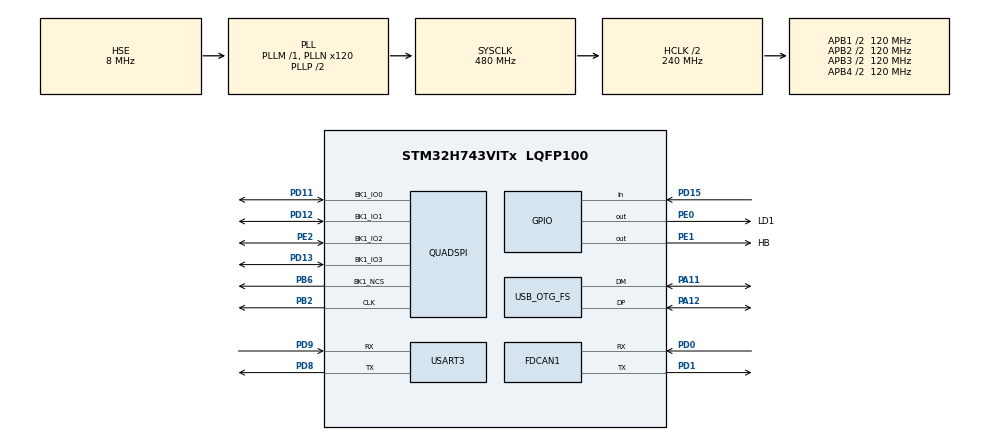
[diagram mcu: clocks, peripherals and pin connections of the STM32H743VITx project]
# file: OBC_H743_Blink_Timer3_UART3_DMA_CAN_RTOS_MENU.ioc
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CORTEX_M7.default_mode_Activation=1
Dma.Request0=USART3_TX
Dma.Request1=USART3_RX
Dma.USART3_RX.1.Direction=DMA_PERIPH_TO_MEMORY
Dma.USART3_RX.1.EventEnable=DISABLE
Dma.USART3_RX.1.FIFOMode=DMA_FIFOMODE_DISABLE
Dma.USART3_RX.1.Instance=DMA1_Stream1
Dma.USART3_RX.1.MemDataAlignment=DMA_MDATAALIGN_BYTE
Dma.USART3_RX.1.MemInc=DMA_MINC_ENABLE
Dma.USART3_RX.1.Mode=DMA_NORMAL
Dma.USART3_RX.1.PeriphDataAlignment=DMA_PDATAALIGN_BYTE
Dma.USART3_RX.1.PeriphInc=DMA_PINC_DISABLE
Dma.USART3_RX.1.Polarity=HAL_DMAMUX_REQ_GEN_RISING
Dma.USART3_RX.1.Priority=DMA_PRIORITY_MEDIUM
Dma.USART3_RX.1.RequestNumber=1
Dma.USART3_RX.1.SignalID=NONE
Dma.USART3_RX.1.SyncEnable=DISABLE
Dma.USART3_RX.1.SyncPolarity=HAL_DMAMUX_SYNC_NO_EVENT
Dma.USART3_RX.1.SyncRequestNumber=1
Dma.USART3_RX.1.SyncSignalID=NONE
Dma.USART3_TX.0.Direction=DMA_MEMORY_TO_PERIPH
Dma.USART3_TX.0.EventEnable=DISABLE
Dma.USART3_TX.0.FIFOMode=DMA_FIFOMODE_DISABLE
Dma.USART3_TX.0.Instance=DMA1_Stream0
Dma.USART3_TX.0.MemDataAlignment=DMA_MDATAALIGN_BYTE
Dma.USART3_TX.0.MemInc=DMA_MINC_ENABLE
Dma.USART3_TX.0.Mode=DMA_NORMAL
Dma.USART3_TX.0.PeriphDataAlignment=DMA_PDATAALIGN_BYTE
Dma.USART3_TX.0.PeriphInc=DMA_PINC_DISABLE
Dma.USART3_TX.0.Polarity=HAL_DMAMUX_REQ_GEN_RISING
Dma.USART3_TX.0.Priority=DMA_PRIORITY_MEDIUM
Dma.USART3_TX.0.RequestNumber=1
Dma.USART3_TX.0.SignalID=NONE
Dma.USART3_TX.0.SyncEnable=DISABLE
Dma.USART3_TX.0.SyncPolarity=HAL_DMAMUX_SYNC_NO_EVENT
Dma.USART3_TX.0.SyncRequestNumber=1
Dma.USART3_TX.0.SyncSignalID=NONE
FDCAN1.CalculateBaudRateNominal=125000
FDCAN1.CalculateTimeBitNominal=8000
FDCAN1.CalculateTimeQuantumNominal=400.0
FDCAN1.DataTimeSeg1=16
FDCAN1.DataTimeSeg2=3
FDCAN1.Mode=FDCAN_MODE_NORMAL
FDCAN1.NominalPrescaler=48
FDCAN1.NominalTimeSeg1=16
FDCAN1.NominalTimeSeg2=3
FDCAN1.RxFifo0ElmtsNbr=1
FDCAN1.StdFiltersNbr=1
FDCAN1.TxBuffersNbr=16
FDCAN1.TxFifoQueueElmtsNbr=16
FREERTOS.Tasks01=defaultTask,24,128,StartDefaultTask,Default,NULL,Dynamic,NULL,NULL;uartTask,24,128,StartUartTask,Default,NULL,Dynamic,NULL,NULL;timeTask,8,128,StartTimeTask,Default,NULL,Dynamic,NULL,NULL
FREERTOS.configTOTAL_HEAP_SIZE=32768
FREERTOS.configUSE_NEWLIB_REENTRANT=1
Mcu.Family=STM32H7
Mcu.Name=STM32H743VITx
Mcu.Package=LQFP100
NVIC.DMA1_Stream0_IRQn=true\:5\:0\:false\:false\:true\:true\:false\:true\:true
NVIC.DMA1_Stream1_IRQn=true\:5\:0\:false\:false\:true\:true\:false\:true\:true
NVIC.FDCAN1_IT0_IRQn=true\:5\:0\:false\:false\:true\:true\:true\:true\:true
NVIC.FDCAN1_IT1_IRQn=true\:5\:0\:false\:false\:true\:true\:true\:true\:true
NVIC.OTG_FS_IRQn=true\:5\:0\:false\:false\:true\:true\:false\:true\:true
NVIC.PriorityGroup=NVIC_PRIORITYGROUP_4
NVIC.TIM1_UP_IRQn=true\:15\:0\:false\:false\:true\:false\:false\:true\:true
NVIC.TIM3_IRQn=true\:5\:0\:false\:false\:true\:true\:true\:true\:true
NVIC.TimeBase=TIM1_UP_IRQn
NVIC.TimeBaseIP=TIM1
NVIC.USART3_IRQn=true\:5\:0\:false\:false\:true\:true\:true\:true\:true
PA11.Mode=Device_Only
PA11.Signal=USB_OTG_FS_DM
PA12.Mode=Device_Only
PA12.Signal=USB_OTG_FS_DP
PB2.GPIO_Speed=GPIO_SPEED_FREQ_VERY_HIGH
PB2.Mode=Single Bank 1
PB2.Signal=QUADSPI_CLK
PB6.GPIO_Speed=GPIO_SPEED_FREQ_VERY_HIGH
PB6.Mode=Single Bank 1
PB6.Signal=QUADSPI_BK1_NCS
PC14-OSC32_IN\ (OSC32_IN).Mode=LSE-External-Oscillator
PC14-OSC32_IN\ (OSC32_IN).Signal=RCC_OSC32_IN
PC15-OSC32_OUT\ (OSC32_OUT).Mode=LSE-External-Oscillator
PC15-OSC32_OUT\ (OSC32_OUT).Signal=RCC_OSC32_OUT
PD0.Mode=FDCAN_Activate
PD0.Signal=FDCAN1_RX
PD1.Mode=FDCAN_Activate
PD1.Signal=FDCAN1_TX
PD11.GPIO_Speed=GPIO_SPEED_FREQ_VERY_HIGH
PD11.Mode=Single Bank 1
PD11.Signal=QUADSPI_BK1_IO0
PD12.GPIO_Speed=GPIO_SPEED_FREQ_VERY_HIGH
PD12.Mode=Single Bank 1
PD12.Signal=QUADSPI_BK1_IO1
PD13.GPIO_Speed=GPIO_SPEED_FREQ_VERY_HIGH
PD13.Mode=Single Bank 1
PD13.Signal=QUADSPI_BK1_IO3
PD15.Signal=GPIO_Input
PD8.Mode=Asynchronous
PD8.Signal=USART3_TX
PD9.Mode=Asynchronous
PD9.Signal=USART3_RX
PE0.GPIO_Label=LD1
PE0.Signal=GPIO_Output
PE1.GPIO_Label=HB
PE1.Signal=GPIO_Output
PE2.GPIO_Speed=GPIO_SPEED_FREQ_VERY_HIGH
PE2.Mode=Single Bank 1
PE2.Signal=QUADSPI_BK1_IO2
PH0-OSC_IN\ (PH0).Mode=HSE-External-Oscillator
PH0-OSC_IN\ (PH0).Signal=RCC_OSC_IN
PH1-OSC_OUT\ (PH1).Mode=HSE-External-Oscillator
PH1-OSC_OUT\ (PH1).Signal=RCC_OSC_OUT
ProjectManager.HeapSize=0x200
ProjectManager.StackSize=0x400
ProjectManager.TargetToolchain=STM32CubeIDE
QUADSPI.ClockMode=QSPI_CLOCK_MODE_3
QUADSPI.ClockPrescaler=3
QUADSPI.DeviceType=SPI_DEVICE_FLASH
QUADSPI.FifoThreshold=4
QUADSPI.FlashSize=24
QUADSPI.SampleShifting=QSPI_SAMPLE_SHIFTING_HALFCYCLE
RCC.ADCFreq_Value=120000000
RCC.APB1Freq_Value=120000000
RCC.APB2Freq_Value=120000000
RCC.APB3Freq_Value=120000000
RCC.APB4Freq_Value=120000000
RCC.CortexFreq_Value=480000000
RCC.D1PPRE=RCC_APB3_DIV2
RCC.D2PPRE1=RCC_APB1_DIV2
RCC.D2PPRE2=RCC_APB2_DIV2
RCC.D3PPRE=RCC_APB4_DIV2
RCC.DIVM1=1
RCC.DIVM2=1
RCC.DIVM3=4
RCC.DIVN1=120
RCC.DIVN2=30
RCC.DIVN3=144
RCC.DIVQ3=6
RCC.FDCANCLockSelection=RCC_FDCANCLKSOURCE_PLL2
RCC.HCLKFreq_Value=240000000
RCC.HPRE=RCC_HCLK_DIV2
RCC.HSE_VALUE=8000000
RCC.PLL2FRACN=0
RCC.PLL3FRACN=0
RCC.PLLFRACN=0
RCC.PLLSourceVirtual=RCC_PLLSOURCE_HSE
RCC.RTCClockSelection=RCC_RTCCLKSOURCE_LSE
RCC.SYSCLKFreq_VALUE=480000000
RCC.SYSCLKSource=RCC_SYSCLKSOURCE_PLLCLK
RCC.USART234578CLockSelection=RCC_USART234578CLKSOURCE_PLL2
RCC.USBCLockSelection=RCC_USBCLKSOURCE_PLL3
RCC.USBFreq_Value=48000000
TIM3.Period=1000-1
TIM3.Prescaler=240-1
USART3.VirtualMode-Asynchronous=VM_ASYNC
USB_DEVICE.CLASS_NAME_FS=CDC
USB_DEVICE.VirtualMode-CDC_FS=Cdc
USB_DEVICE.VirtualModeFS=Cdc_FS
USB_OTG_FS.VirtualMode=Device_Only
VP_FREERTOS_VS_CMSIS_V2.Mode=CMSIS_V2
VP_MEMORYMAP_VS_MEMORYMAP.Mode=CurAppReg
VP_RTC_VS_RTC_Activate.Mode=RTC_Enabled
VP_SYS_VS_tim1.Mode=TIM1
VP_TIM3_VS_ClockSourceINT.Mode=Internal
VP_USB_DEVICE_VS_USB_DEVICE_CDC_FS.Mode=CDC_FS
board=custom

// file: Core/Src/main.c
/* USER CODE BEGIN Header */
/**
  ******************************************************************************
  * @file           : main.c
  * @brief          : Main program body
  ******************************************************************************
  * @attention
  *
  * Copyright (c) 2024 STMicroelectronics.
  * All rights reserved.
  *
  * This software is licensed under terms that can be found in the LICENSE file
  * in the root directory of this software component.
  * If no LICENSE file comes with this software, it is provided AS-IS.
  *
  ******************************************************************************
  */

// Change Log:
//
// 2026/04/14
//   Change Heap size in FLASH.ld and RAM.ld to 0x600

/* USER CODE END Header */
#include "main.h"
#include "cmsis_os.h"
#include "usb_device.h"

/* USER CODE BEGIN Includes */
#include "string.h"
#include "dma_printf.h"
#include "dma_scanf.h"
#include "log.h"
#include "w25q_mem.h"
#include "project_info.h"

#include "lfs.h"
#include "littlefs_qspi.h"
#include "usbd_cdc_if.h" // Include the CDC interface header
/* USER CODE END Includes */

/* USER CODE BEGIN PD */
#define RTC_CODE 0xAA55
/* USER CODE END PD */

FDCAN_HandleTypeDef hfdcan1;

QSPI_HandleTypeDef hqspi;

RTC_HandleTypeDef hrtc;

TIM_HandleTypeDef htim3;

UART_HandleTypeDef huart3;
DMA_HandleTypeDef hdma_usart3_tx;
DMA_HandleTypeDef hdma_usart3_rx;

/* Definitions for defaultTask */
osThreadId_t defaultTaskHandle;
const osThreadAttr_t defaultTask_attributes = {
  .name = "defaultTask",
  .stack_size = 128 * 4,
  .priority = (osPriority_t) osPriorityNormal,
};
/* Definitions for uartTask */
osThreadId_t uartTaskHandle;
const osThreadAttr_t uartTask_attributes = {
  .name = "uartTask",
  .stack_size = 128 * 4,
  .priority = (osPriority_t) osPriorityNormal,
};
/* Definitions for timeTask */
osThreadId_t timeTaskHandle;
const osThreadAttr_t timeTask_attributes = {
  .name = "timeTask",
  .stack_size = 128 * 4,
  .priority = (osPriority_t) osPriorityLow,
};
/* USER CODE BEGIN PV */
FDCAN_TxHeaderTypeDef   TxHeader;
uint8_t                 TxData[8];

FDCAN_RxHeaderTypeDef   RxHeader;
uint8_t                 RxData[8];

uint32_t                TxMailbox;

uint8_t flag = 0;

int number;

extern struct lfs_config qspi_lfs_cfg;

// Declare LFS as global variable so it can used in different functions.
lfs_t lfs;

  RTC_TimeTypeDef sTime = {0};
  RTC_DateTypeDef sDate = {0};

/* USER CODE END PV */

void SystemClock_Config(void);
void PeriphCommonClock_Config(void);
static void MPU_Config(void);
static void MX_GPIO_Init(void);
static void MX_DMA_Init(void);
static void MX_TIM3_Init(void);
static void MX_USART3_UART_Init(void);
static void MX_FDCAN1_Init(void);
static void MX_RTC_Init(void);
static void MX_QUADSPI_Init(void);
void StartDefaultTask(void *argument);
void StartUartTask(void *argument);
void StartTimeTask(void *argument);

/* USER CODE BEGIN PFP */
void Set_RTC_Time(void);
void Set_RTC_Date(void);
void run_menu1(void);
void run_menu2(void);

uint8_t bin_to_packed_bcd(uint8_t binary_value);
/* USER CODE END PFP */

/* USER CODE BEGIN 0 */

int __io_putchar(int ch)
{
  dma_printf_putc(ch&0xFF);
  return ch;
}

int __io_getchar(void)
{
  return dma_scanf_getc_blocking();
}

void HAL_UART_RxCpltCallback(UART_HandleTypeDef *huart){

}

void HAL_UART_TxCpltCallback(UART_HandleTypeDef *huart){
  dma_printf_send_it(huart);
}

/**
  * @brief  Rx FIFO 0 callback.
  * @param  hfdcan: pointer to an FDCAN_HandleTypeDef structure that contains
  *         the configuration information for the specified FDCAN.
  * @param  RxFifo0ITs: indicates which Rx FIFO 0 interrupts are signalled.
  *                     This parameter can be any combination of @arg FDCAN_Rx_Fifo0_Interrupts.
  * @retval None
  */
void HAL_FDCAN_RxFifo0Callback(FDCAN_HandleTypeDef *hfdcan, uint32_t RxFifo0ITs)
{
  if((RxFifo0ITs & FDCAN_IT_RX_FIFO0_NEW_MESSAGE) != RESET)
  {
    /* Retreive Rx messages from RX FIFO0 */
    if (HAL_FDCAN_GetRxMessage(hfdcan, FDCAN_RX_FIFO0, &RxHeader, RxData) != HAL_OK)
    {
    /* Reception Error */
    Error_Handler();
    }

#if 0
    /* Display LEDx */
    if ((RxHeader.Identifier == 0x321) && (RxHeader.IdType == FDCAN_STANDARD_ID) && (RxHeader.DataLength == FDCAN_DLC_BYTES_2))
    {
      LED_Display(RxData[0]);
      ubKeyNumber = RxData[0];
    }
#endif

    if (HAL_FDCAN_ActivateNotification(hfdcan, FDCAN_IT_RX_FIFO0_NEW_MESSAGE, 0) != HAL_OK)
    {
      /* Notification Error */
      Error_Handler();
    }
  }
}

void Set_RTC_Time(void)
{
	RTC_TimeTypeDef sTime = {0};
	uint8_t buffer[3];

	printf("Enter Hour (00-23): ");
	scanf("%s", buffer);
	sTime.Hours = (buffer[0] - '0')*10 + (buffer[1] - '0');

	printf("Enter Minute (00-59): ");
	scanf("%s", buffer);
	sTime.Minutes = (buffer[0] - '0')*10 + (buffer[1] - '0');

	printf("Enter Second (00-59): ");
	scanf("%s", buffer);
	sTime.Seconds = (buffer[0] - '0')*10 + (buffer[1] - '0');

	sTime.DayLightSaving = RTC_DAYLIGHTSAVING_NONE;
	sTime.StoreOperation = RTC_STOREOPERATION_RESET;

	if (HAL_RTC_SetTime(&hrtc, &sTime, RTC_FORMAT_BIN) != HAL_OK)
		printf("RTC SetTime Failed\n\r");
	else
		printf("RTC Time is Set to: %02d:%02d:%02d\n\r", sTime.Hours, sTime.Minutes, sTime.Seconds);

}

void Set_RTC_Date(void)
{
	RTC_DateTypeDef sDate = {0};
	uint8_t buffer[3];

	printf("Enter Year (00-99): ");
	scanf("%s", buffer);
	sDate.Year = (buffer[0] - '0')*10 + (buffer[1] - '0');

	printf("Enter Month (1-12): ");
	scanf("%s", buffer);
	sDate.Month = (buffer[0] - '0')*10 + (buffer[1] - '0');

	printf("Enter Day (1-31): ");
	scanf("%s", buffer);
	sDate.Date = (buffer[0] - '0')*10 + (buffer[1] - '0');

	if (HAL_RTC_SetDate(&hrtc, &sDate, RTC_FORMAT_BIN) != HAL_OK)
		printf("RTC SetDate Failed\n\r");
	else
		printf("RTC Date is Set to: %02d/%02d/%02d\n\r", sDate.Year, sDate.Month, sDate.Date);

}

void printHex(unsigned char *buffer, int buffer_size)
{
//    int buffer_size = sizeof(buffer);

    for (int i = 0; i < buffer_size; i++) {
        printf("%02X ", buffer[i]); // Print byte in hex, padded with 0 to 2 digits
        if ((i + 1) % 16 == 0) {    // Check if 16 bytes have been printed
            printf("\n\r");           // Print a newline
        }
    }
    // Print a final newline if the last line was not a full 16 bytes
    if (buffer_size % 16 != 0) {
        printf("\n\r");
    }
}

/**
 * @brief Converts a single 8-bit unsigned binary value to packed BCD.
 * @param binary_value The 8-bit unsigned binary value (0-255).
 * @return The packed BCD representation.
 *         The upper nibble contains the tens digit, the lower nibble contains the units digit.
 *         Returns 0xFF if the input is out of range (0-99).
 */
uint8_t bin_to_packed_bcd(uint8_t binary_value) {
    if (binary_value > 99) {
        // A single byte in packed BCD can only represent values from 0-99.
        return 0xFF; // Indicate an error or out-of-range value
    }

    uint8_t tens_digit = binary_value / 10;
    uint8_t units_digit = binary_value % 10;

    // Pack the BCD digits into a single byte
    return (tens_digit << 4) | units_digit;
}
/* USER CODE END 0 */

int main(void)
{

  /* USER CODE BEGIN 1 */
  RTC_TimeTypeDef sTime = {0};
  RTC_DateTypeDef sDate = {0};
  uint32_t CPU_Sn0, CPU_Sn1, CPU_Sn2;
  W25Q_STATE state;		// temp status variable

  //lfs_t lfs;
  int rc;

  /* USER CODE END 1 */

  /* MPU Configuration--------------------------------------------------------*/
  MPU_Config();

  /* MCU Configuration--------------------------------------------------------*/

  /* Reset of all peripherals, Initializes the Flash interface and the Systick. */
  HAL_Init();

  /* Configure the system clock */
  SystemClock_Config();

  /* Configure the peripherals common clocks */
  PeriphCommonClock_Config();

  /* Initialize all configured peripherals */
  MX_GPIO_Init();
  MX_DMA_Init();
  MX_TIM3_Init();
  MX_USART3_UART_Init();
  MX_FDCAN1_Init();
  MX_RTC_Init();
  MX_QUADSPI_Init();
  /* USER CODE BEGIN 2 */

  /* init code for USB_DEVICE */
  MX_USB_DEVICE_Init();

  HAL_TIM_Base_Start_IT(&htim3);
  HAL_FDCAN_Start(&hfdcan1);

  setbuf(stdin, NULL);
  setbuf(stdout, NULL);
  setbuf(stderr, NULL);
  dma_printf_init(&huart3);
  dma_scanf_init(&huart3);

  printf("Project %s\n\r", PROJECT_NAME);
  printf("Build at %s %s\r\n", __DATE__, __TIME__);

  CPU_Sn0 = *(__IO uint32_t*)(0x1FF1E800);
  CPU_Sn1 = *(__IO uint32_t*)(0x1FF1E800 + 4);
  CPU_Sn2 = *(__IO uint32_t*)(0x1FF1E800 + 8);

  printf("\r\nCPU : STM32H743VITx, LQFP100, 主频: %ldMHz\r\n", SystemCoreClock / 1000000);
  printf("UID = %08lX %08lX %08lX\n\r", CPU_Sn2, CPU_Sn1, CPU_Sn0);

  HAL_RTC_GetTime(&hrtc, &sTime, RTC_FORMAT_BIN);
  HAL_RTC_GetDate(&hrtc, &sDate, RTC_FORMAT_BIN);

  state = W25Q_Init();
  if (state != W25Q_OK) {
	printf("W25Q initialization failed\n\r");
  }

  run_menu1();
  run_menu2();

//  lfs_format(&lfs, &qspi_lfs_cfg);

  rc = lfs_mount(&lfs, &qspi_lfs_cfg);
  if (rc != 0) {
	  printf("lfs_mount() failed, RC=%d\n\r", rc);
      rc = lfs_format(&lfs, &qspi_lfs_cfg);
	  printf("lfs_format() failed, RC=%d\n\r", rc);
      rc = lfs_mount(&lfs, &qspi_lfs_cfg);
	  printf("lfs_mount() failed, RC=%d\n\r", rc);

  } else {
	  printf("LFS_mount() success\n\r");
  }

  printf("Check MEM_CLR pin \n\r");
  // IF Button Is Pressed
  if(HAL_GPIO_ReadPin (GPIOD, GPIO_PIN_15) == 0)
  {
    printf("Memory Clearing\n\r");
    HAL_PWR_EnableBkUpAccess();
	// Clear RTC Backup data Register 1
	HAL_RTCEx_BKUPWrite(&hrtc, RTC_BKP_DR1, 0);
    HAL_PWR_DisableBkUpAccess();
  }

  printf("Before Config RTC\n\r");
  memset(&sTime, 0, sizeof(sTime));
  memset(&sDate, 0, sizeof(sDate));

  HAL_RTC_GetTime(&hrtc, &sTime, RTC_FORMAT_BIN);
  HAL_RTC_GetDate(&hrtc, &sDate, RTC_FORMAT_BIN);

  printf("RTC Time: %02d:%02d:%02d\n\r", sTime.Hours, sTime.Minutes, sTime.Seconds);
  printf("RTC Date: %02d/%02d/%02d\n\r", sDate.Date, sDate.Month, sDate.Year);

  // Check if Data stored in BackUp register1: No Need to write it and then turn LED1
  // Read the Back Up Register 1 Data
  if (HAL_RTCEx_BKUPRead(&hrtc, RTC_BKP_DR1) != RTC_CODE)
  {

     printf("BKP_DR1 != %04X\n\r", RTC_CODE);
     // Write Back Up Register 1 Data
     HAL_PWR_EnableBkUpAccess();
     // Writes a data in a RTC Backup data Register 1
     HAL_RTCEx_BKUPWrite(&hrtc, RTC_BKP_DR1, RTC_CODE);
     Set_RTC_Time();
     Set_RTC_Date();
     memset(&sTime, 0, sizeof(sTime));
     memset(&sDate, 0, sizeof(sDate));
     HAL_RTC_GetTime(&hrtc, &sTime, RTC_FORMAT_BIN);
     HAL_RTC_GetDate(&hrtc, &sDate, RTC_FORMAT_BIN);

     printf("RTC Time: %02d:%02d:%02d\n\r", sTime.Hours, sTime.Minutes, sTime.Seconds);
     printf("RTC Date: %02d/%02d/%02d\n\r", sDate.Month, sDate.Date, sDate.Year);
     HAL_PWR_DisableBkUpAccess();
  } else {
	  printf("BKP_DR1 == %04X\n\r", RTC_CODE);
  }

  memset(&sTime, 0, sizeof(sTime));
  memset(&sDate, 0, sizeof(sDate));
  HAL_RTC_GetTime(&hrtc, &sTime, RTC_FORMAT_BIN);
  HAL_RTC_GetDate(&hrtc, &sDate, RTC_FORMAT_BIN);

  printf("RTC Time: %02d:%02d:%02d\n\r", sTime.Hours, sTime.Minutes, sTime.Seconds);
  printf("RTC Date: %02d/%02d/%02d\n\r", sDate.Month, sDate.Date, sDate.Year);

  lfs_file_t file;
  char filename[64];
  char lfs_buf[128];

  sprintf(filename, "hello_%02d%02d%02d_%02d%02d%02d.txt", sDate.Month, sDate.Date, sDate.Year, sTime.Hours, sTime.Minutes, sTime.Seconds);
  printf("File (%s) created\n\r", filename);
  lfs_file_open(&lfs, &file, filename, LFS_O_RDWR | LFS_O_CREAT);
  lfs_file_write(&lfs, &file, "Hello World", 11);
  lfs_file_close(&lfs, &file);

  lfs_file_open(&lfs, &file, "hello.txt", LFS_O_RDWR);
  lfs_file_read(&lfs, &file, lfs_buf, 11);
  lfs_file_close(&lfs, &file);

  for(int ii = 0; ii<11; ii++) {
	  printf("%c ", lfs_buf[ii]);
  }
  printf("\n\r");

  /* USER CODE END 2 */

  /* Init scheduler */
  osKernelInitialize();

  /* Create the thread(s) */
  /* creation of defaultTask */
  defaultTaskHandle = osThreadNew(StartDefaultTask, NULL, &defaultTask_attributes);

  /* creation of uartTask */
  uartTaskHandle = osThreadNew(StartUartTask, NULL, &uartTask_attributes);

  /* creation of timeTask */
  timeTaskHandle = osThreadNew(StartTimeTask, NULL, &timeTask_attributes);

  /* Start scheduler */
  osKernelStart();

  /* We should never get here as control is now taken by the scheduler */

  /* Infinite loop */
  while (1)
  {

  }
}

void SystemClock_Config(void)
{
  RCC_OscInitTypeDef RCC_OscInitStruct = {0};
  RCC_ClkInitTypeDef RCC_ClkInitStruct = {0};

  /** Supply configuration update enable
  */
  HAL_PWREx_ConfigSupply(PWR_LDO_SUPPLY);

  /** Configure the main internal regulator output voltage
  */
  __HAL_PWR_VOLTAGESCALING_CONFIG(PWR_REGULATOR_VOLTAGE_SCALE0);

  while(!__HAL_PWR_GET_FLAG(PWR_FLAG_VOSRDY)) {}

  /** Configure LSE Drive Capability
  */
  HAL_PWR_EnableBkUpAccess();
  __HAL_RCC_LSEDRIVE_CONFIG(RCC_LSEDRIVE_LOW);

  /** Initializes the RCC Oscillators according to the specified parameters
  * in the RCC_OscInitTypeDef structure.
  */
  RCC_OscInitStruct.OscillatorType = RCC_OSCILLATORTYPE_HSE|RCC_OSCILLATORTYPE_LSE;
  RCC_OscInitStruct.HSEState = RCC_HSE_ON;
  RCC_OscInitStruct.LSEState = RCC_LSE_ON;
  RCC_OscInitStruct.PLL.PLLState = RCC_PLL_ON;
  RCC_OscInitStruct.PLL.PLLSource = RCC_PLLSOURCE_HSE;
  RCC_OscInitStruct.PLL.PLLM = 1;
  RCC_OscInitStruct.PLL.PLLN = 120;
  RCC_OscInitStruct.PLL.PLLP = 2;
  RCC_OscInitStruct.PLL.PLLQ = 2;
  RCC_OscInitStruct.PLL.PLLR = 2;
  RCC_OscInitStruct.PLL.PLLRGE = RCC_PLL1VCIRANGE_3;
  RCC_OscInitStruct.PLL.PLLVCOSEL = RCC_PLL1VCOWIDE;
  RCC_OscInitStruct.PLL.PLLFRACN = 0;
  if (HAL_RCC_OscConfig(&RCC_OscInitStruct) != HAL_OK)
  {
    Error_Handler();
  }

  /** Initializes the CPU, AHB and APB buses clocks
  */
  RCC_ClkInitStruct.ClockType = RCC_CLOCKTYPE_HCLK|RCC_CLOCKTYPE_SYSCLK
                              |RCC_CLOCKTYPE_PCLK1|RCC_CLOCKTYPE_PCLK2
                              |RCC_CLOCKTYPE_D3PCLK1|RCC_CLOCKTYPE_D1PCLK1;
  RCC_ClkInitStruct.SYSCLKSource = RCC_SYSCLKSOURCE_PLLCLK;
  RCC_ClkInitStruct.SYSCLKDivider = RCC_SYSCLK_DIV1;
  RCC_ClkInitStruct.AHBCLKDivider = RCC_HCLK_DIV2;
  RCC_ClkInitStruct.APB3CLKDivider = RCC_APB3_DIV2;
  RCC_ClkInitStruct.APB1CLKDivider = RCC_APB1_DIV2;
  RCC_ClkInitStruct.APB2CLKDivider = RCC_APB2_DIV2;
  RCC_ClkInitStruct.APB4CLKDivider = RCC_APB4_DIV2;

  if (HAL_RCC_ClockConfig(&RCC_ClkInitStruct, FLASH_LATENCY_4) != HAL_OK)
  {
    Error_Handler();
  }
}

void PeriphCommonClock_Config(void)
{
  RCC_PeriphCLKInitTypeDef PeriphClkInitStruct = {0};

  /** Initializes the peripherals clock
  */
  PeriphClkInitStruct.PeriphClockSelection = RCC_PERIPHCLK_FDCAN|RCC_PERIPHCLK_USART3;
  PeriphClkInitStruct.PLL2.PLL2M = 1;
  PeriphClkInitStruct.PLL2.PLL2N = 30;
  PeriphClkInitStruct.PLL2.PLL2P = 2;
  PeriphClkInitStruct.PLL2.PLL2Q = 2;
  PeriphClkInitStruct.PLL2.PLL2R = 2;
  PeriphClkInitStruct.PLL2.PLL2RGE = RCC_PLL2VCIRANGE_3;
  PeriphClkInitStruct.PLL2.PLL2VCOSEL = RCC_PLL2VCOWIDE;
  PeriphClkInitStruct.PLL2.PLL2FRACN = 0;
  PeriphClkInitStruct.FdcanClockSelection = RCC_FDCANCLKSOURCE_PLL2;
  PeriphClkInitStruct.Usart234578ClockSelection = RCC_USART234578CLKSOURCE_PLL2;
  if (HAL_RCCEx_PeriphCLKConfig(&PeriphClkInitStruct) != HAL_OK)
  {
    Error_Handler();
  }
}

static void MX_FDCAN1_Init(void)
{

  /* USER CODE BEGIN FDCAN1_Init 1 */
////	  hfdcan1.Init.Mode = FDCAN_MODE_EXTERNAL_LOOPBACK;

  /* USER CODE END FDCAN1_Init 1 */
  hfdcan1.Instance = FDCAN1;
  hfdcan1.Init.FrameFormat = FDCAN_FRAME_CLASSIC;
  hfdcan1.Init.Mode = FDCAN_MODE_NORMAL;
  hfdcan1.Init.AutoRetransmission = DISABLE;
  hfdcan1.Init.TransmitPause = DISABLE;
  hfdcan1.Init.ProtocolException = DISABLE;
  hfdcan1.Init.NominalPrescaler = 48;
  hfdcan1.Init.NominalSyncJumpWidth = 1;
  hfdcan1.Init.NominalTimeSeg1 = 16;
  hfdcan1.Init.NominalTimeSeg2 = 3;
  hfdcan1.Init.DataPrescaler = 1;
  hfdcan1.Init.DataSyncJumpWidth = 1;
  hfdcan1.Init.DataTimeSeg1 = 16;
  hfdcan1.Init.DataTimeSeg2 = 3;
  hfdcan1.Init.MessageRAMOffset = 0;
  hfdcan1.Init.StdFiltersNbr = 1;
  hfdcan1.Init.ExtFiltersNbr = 0;
  hfdcan1.Init.RxFifo0ElmtsNbr = 1;
  hfdcan1.Init.RxFifo0ElmtSize = FDCAN_DATA_BYTES_8;
  hfdcan1.Init.RxFifo1ElmtsNbr = 0;
  hfdcan1.Init.RxFifo1ElmtSize = FDCAN_DATA_BYTES_8;
  hfdcan1.Init.RxBuffersNbr = 0;
  hfdcan1.Init.RxBufferSize = FDCAN_DATA_BYTES_8;
  hfdcan1.Init.TxEventsNbr = 0;
  hfdcan1.Init.TxBuffersNbr = 16;
  hfdcan1.Init.TxFifoQueueElmtsNbr = 16;
  hfdcan1.Init.TxFifoQueueMode = FDCAN_TX_FIFO_OPERATION;
  hfdcan1.Init.TxElmtSize = FDCAN_DATA_BYTES_8;
  if (HAL_FDCAN_Init(&hfdcan1) != HAL_OK)
  {
    Error_Handler();
  }

}

static void MX_QUADSPI_Init(void)
{

  /* QUADSPI parameter configuration*/
  hqspi.Instance = QUADSPI;
  hqspi.Init.ClockPrescaler = 3;
  hqspi.Init.FifoThreshold = 4;
  hqspi.Init.SampleShifting = QSPI_SAMPLE_SHIFTING_HALFCYCLE;
  hqspi.Init.FlashSize = 24;
  hqspi.Init.ChipSelectHighTime = QSPI_CS_HIGH_TIME_1_CYCLE;
  hqspi.Init.ClockMode = QSPI_CLOCK_MODE_3;
  hqspi.Init.FlashID = QSPI_FLASH_ID_1;
  hqspi.Init.DualFlash = QSPI_DUALFLASH_DISABLE;
  if (HAL_QSPI_Init(&hqspi) != HAL_OK)
  {
    Error_Handler();
  }

}

static void MX_RTC_Init(void)
{

  /** Initialize RTC Only
  */
  hrtc.Instance = RTC;
  hrtc.Init.HourFormat = RTC_HOURFORMAT_24;
  hrtc.Init.AsynchPrediv = 127;
  hrtc.Init.SynchPrediv = 255;
  hrtc.Init.OutPut = RTC_OUTPUT_DISABLE;
  hrtc.Init.OutPutPolarity = RTC_OUTPUT_POLARITY_HIGH;
  hrtc.Init.OutPutType = RTC_OUTPUT_TYPE_OPENDRAIN;
  hrtc.Init.OutPutRemap = RTC_OUTPUT_REMAP_NONE;
  if (HAL_RTC_Init(&hrtc) != HAL_OK)
  {
    Error_Handler();
  }

}

static void MX_TIM3_Init(void)
{

  TIM_ClockConfigTypeDef sClockSourceConfig = {0};
  TIM_MasterConfigTypeDef sMasterConfig = {0};

  htim3.Instance = TIM3;
  htim3.Init.Prescaler = 240-1;
  htim3.Init.CounterMode = TIM_COUNTERMODE_UP;
  htim3.Init.Period = 1000-1;
  htim3.Init.ClockDivision = TIM_CLOCKDIVISION_DIV1;
  htim3.Init.AutoReloadPreload = TIM_AUTORELOAD_PRELOAD_DISABLE;
  if (HAL_TIM_Base_Init(&htim3) != HAL_OK)
  {
    Error_Handler();
  }
  sClockSourceConfig.ClockSource = TIM_CLOCKSOURCE_INTERNAL;
  if (HAL_TIM_ConfigClockSource(&htim3, &sClockSourceConfig) != HAL_OK)
  {
    Error_Handler();
  }
  sMasterConfig.MasterOutputTrigger = TIM_TRGO_RESET;
  sMasterConfig.MasterSlaveMode = TIM_MASTERSLAVEMODE_DISABLE;
  if (HAL_TIMEx_MasterConfigSynchronization(&htim3, &sMasterConfig) != HAL_OK)
  {
    Error_Handler();
  }

}

static void MX_USART3_UART_Init(void)
{

  huart3.Instance = USART3;
  huart3.Init.BaudRate = 115200;
  huart3.Init.WordLength = UART_WORDLENGTH_8B;
  huart3.Init.StopBits = UART_STOPBITS_1;
  huart3.Init.Parity = UART_PARITY_NONE;
  huart3.Init.Mode = UART_MODE_TX_RX;
  huart3.Init.HwFlowCtl = UART_HWCONTROL_NONE;
  huart3.Init.OverSampling = UART_OVERSAMPLING_16;
  huart3.Init.OneBitSampling = UART_ONE_BIT_SAMPLE_DISABLE;
  huart3.Init.ClockPrescaler = UART_PRESCALER_DIV1;
  huart3.AdvancedInit.AdvFeatureInit = UART_ADVFEATURE_NO_INIT;
  if (HAL_UART_Init(&huart3) != HAL_OK)
  {
    Error_Handler();
  }
  if (HAL_UARTEx_SetTxFifoThreshold(&huart3, UART_TXFIFO_THRESHOLD_1_8) != HAL_OK)
  {
    Error_Handler();
  }
  if (HAL_UARTEx_SetRxFifoThreshold(&huart3, UART_RXFIFO_THRESHOLD_1_8) != HAL_OK)
  {
    Error_Handler();
  }
  if (HAL_UARTEx_DisableFifoMode(&huart3) != HAL_OK)
  {
    Error_Handler();
  }

}

static void MX_DMA_Init(void)
{

  /* DMA controller clock enable */
  __HAL_RCC_DMA1_CLK_ENABLE();

  /* DMA interrupt init */
  /* DMA1_Stream0_IRQn interrupt configuration */
  HAL_NVIC_SetPriority(DMA1_Stream0_IRQn, 5, 0);
  HAL_NVIC_EnableIRQ(DMA1_Stream0_IRQn);
  /* DMA1_Stream1_IRQn interrupt configuration */
  HAL_NVIC_SetPriority(DMA1_Stream1_IRQn, 5, 0);
  HAL_NVIC_EnableIRQ(DMA1_Stream1_IRQn);

}

static void MX_GPIO_Init(void)
{
  GPIO_InitTypeDef GPIO_InitStruct = {0};

  /* GPIO Ports Clock Enable */
  __HAL_RCC_GPIOE_CLK_ENABLE();
  __HAL_RCC_GPIOC_CLK_ENABLE();
  __HAL_RCC_GPIOH_CLK_ENABLE();
  __HAL_RCC_GPIOB_CLK_ENABLE();
  __HAL_RCC_GPIOD_CLK_ENABLE();
  __HAL_RCC_GPIOA_CLK_ENABLE();

  /*Configure GPIO pin Output Level */
  HAL_GPIO_WritePin(GPIOE, LD1_Pin|HB_Pin, GPIO_PIN_RESET);

  /*Configure GPIO pin : PD15 */
  GPIO_InitStruct.Pin = GPIO_PIN_15;
  GPIO_InitStruct.Mode = GPIO_MODE_INPUT;
  GPIO_InitStruct.Pull = GPIO_NOPULL;
  HAL_GPIO_Init(GPIOD, &GPIO_InitStruct);

  /*Configure GPIO pins : LD1_Pin HB_Pin */
  GPIO_InitStruct.Pin = LD1_Pin|HB_Pin;
  GPIO_InitStruct.Mode = GPIO_MODE_OUTPUT_PP;
  GPIO_InitStruct.Pull = GPIO_NOPULL;
  GPIO_InitStruct.Speed = GPIO_SPEED_FREQ_LOW;
  HAL_GPIO_Init(GPIOE, &GPIO_InitStruct);

}

void StartDefaultTask(void *argument)
{
  /* init code for USB_DEVICE */
  MX_USB_DEVICE_Init();
  /* USER CODE BEGIN 5 */
  uint32_t num =  number;
//  RTC_TimeTypeDef sTime = {0};
//  RTC_DateTypeDef sDate = {0};
  /* Infinite loop */
  for(;;)
  {
	  printf("Result: %lu\t", num);

//	  memset(&sTime, 0, sizeof(sTime));
//	  memset(&sDate, 0, sizeof(sDate));
//	  HAL_RTC_GetTime(&hrtc, &sTime, RTC_FORMAT_BIN);
//	  HAL_RTC_GetDate(&hrtc, &sDate, RTC_FORMAT_BIN);

	  printf("%02d:%02d:%02d\t", sTime.Hours, sTime.Minutes, sTime.Seconds);
	  printf("%02d/%02d/%02d\n\r", sDate.Month, sDate.Date, sDate.Year);

#if 1
		  TxHeader.IdType = FDCAN_STANDARD_ID;
		  TxHeader.Identifier = 0x321;
		  TxHeader.TxFrameType = FDCAN_DATA_FRAME;
		  TxHeader.DataLength = 3;
		  TxHeader.ErrorStateIndicator = FDCAN_ESI_ACTIVE;
		  TxHeader.BitRateSwitch = FDCAN_BRS_OFF;
		  TxHeader.FDFormat = FDCAN_CLASSIC_CAN;
		  TxHeader.TxEventFifoControl = FDCAN_NO_TX_EVENTS;
		  TxHeader.MessageMarker = 0;

		  TxData[0] = bin_to_packed_bcd(sTime.Seconds);
		  TxData[1] = bin_to_packed_bcd(sTime.Minutes);
		  TxData[2] = bin_to_packed_bcd(sTime.Hours);

		  HAL_StatusTypeDef status;
		  status = HAL_FDCAN_AddMessageToTxFifoQ(&hfdcan1, &TxHeader, TxData);
		  if (status != HAL_OK)
		  {
////			 HAL_GPIO_WritePin(LD1_GPIO_Port, LD1_Pin, GPIO_PIN_SET);
//			 printf("HAL_FDCAN_AddMessageToTxFifoQ: %d\n\r", status);
			 HAL_Delay(1000);
		     Error_Handler ();
		  }
		  num++;
#endif

	HAL_GPIO_TogglePin(HB_GPIO_Port, HB_Pin);
    osDelay(100);
  }
  /* USER CODE END 5 */
}

void StartUartTask(void *argument)
{
  /* USER CODE BEGIN StartUartTask */
  char msg[80];
  uint32_t i;

  i = 0;
  /* Infinite loop */
  for(;;)
  {

	  sprintf(msg, "%04ld\t%02d:%02d:%02d\t%02d/%02d/%02d\n\r", i++, sTime.Hours, sTime.Minutes, sTime.Seconds, sDate.Month, sDate.Date, sDate.Year);

	// Transmit via USB
	// Parameters: (Buffer pointer, length)
	CDC_Transmit_FS((uint8_t*)msg, strlen(msg));
    osDelay(10);
  }
  /* USER CODE END StartUartTask */
}

void StartTimeTask(void *argument)
{
  /* USER CODE BEGIN StartTimeTask */
  /* Infinite loop */
  for(;;)
  {
    memset(&sTime, 0, sizeof(sTime));
	memset(&sDate, 0, sizeof(sDate));
	HAL_RTC_GetTime(&hrtc, &sTime, RTC_FORMAT_BIN);
	HAL_RTC_GetDate(&hrtc, &sDate, RTC_FORMAT_BIN);
    osDelay(1000);
  }
  /* USER CODE END StartTimeTask */
}

 /* MPU Configuration */

void MPU_Config(void)
{
  MPU_Region_InitTypeDef MPU_InitStruct = {0};

  /* Disables the MPU */
  HAL_MPU_Disable();

  /** Initializes and configures the Region and the memory to be protected
  */
  MPU_InitStruct.Enable = MPU_REGION_ENABLE;
  MPU_InitStruct.Number = MPU_REGION_NUMBER0;
  MPU_InitStruct.BaseAddress = 0x0;
  MPU_InitStruct.Size = MPU_REGION_SIZE_4GB;
  MPU_InitStruct.SubRegionDisable = 0x87;
  MPU_InitStruct.TypeExtField = MPU_TEX_LEVEL0;
  MPU_InitStruct.AccessPermission = MPU_REGION_NO_ACCESS;
  MPU_InitStruct.DisableExec = MPU_INSTRUCTION_ACCESS_DISABLE;
  MPU_InitStruct.IsShareable = MPU_ACCESS_SHAREABLE;
  MPU_InitStruct.IsCacheable = MPU_ACCESS_NOT_CACHEABLE;
  MPU_InitStruct.IsBufferable = MPU_ACCESS_NOT_BUFFERABLE;

  HAL_MPU_ConfigRegion(&MPU_InitStruct);
  /* Enables the MPU */
  HAL_MPU_Enable(MPU_PRIVILEGED_DEFAULT);

}

void HAL_TIM_PeriodElapsedCallback(TIM_HandleTypeDef *htim)
{
  /* USER CODE BEGIN Callback 0 */
	static uint32_t c;
  /* USER CODE END Callback 0 */
  if (htim->Instance == TIM1)
  {
    HAL_IncTick();
  }
  /* USER CODE BEGIN Callback 1 */
  if (htim->Instance == TIM3) {
    c++;
    if ( c > 99 ) {
//	  HAL_GPIO_TogglePin(GPIOE, GPIO_PIN_0);
      HAL_GPIO_TogglePin(LD1_GPIO_Port, LD1_Pin );

	  flag = 1;
	  c = 0;
    }
  }
  /* USER CODE END Callback 1 */
}

void Error_Handler(void)
{
  __disable_irq();
  while (1)
  {
  }
}
#ifdef USE_FULL_ASSERT
/**
  * @brief  Reports the name of the source file and the source line number
  *         where the assert_param error has occurred.
  * @param  file: pointer to the source file name
  * @param  line: assert_param error line source number
  * @retval None
  */
void assert_failed(uint8_t *file, uint32_t line)
{
  /* USER CODE BEGIN 6 */

  // Example: Echo the data back to the PC
//   CDC_Transmit_FS(Buf, *Len);

  // Or: Set a flag to process this buffer in your main loop
  // My_Custom_Receive_Handler(Buf, *Len);

//   USBD_CDC_SetRxBuffer(&hUsbDeviceFS, Buf);
//   USBD_CDC_ReceivePacket(&hUsbDeviceFS);
//   return (USBD_OK);
  /* USER CODE END 6 */
}
#endif /* USE_FULL_ASSERT */
